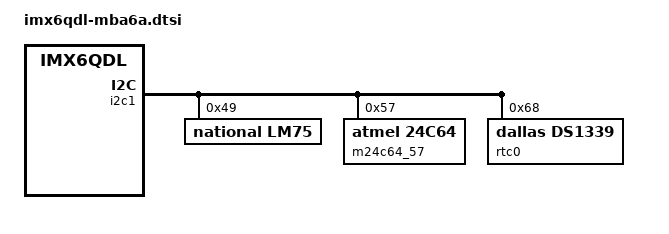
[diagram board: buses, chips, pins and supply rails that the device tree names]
// SPDX-License-Identifier: GPL-2.0-only
/*
 * Copyright 2013 Sascha Hauer, Pengutronix
 *
 * Copyright 2013-2021 TQ-Systems GmbH
 * Author: Markus Niebel <Markus.Niebel@tq-group.com>
 */

&fec {
	pinctrl-names = "default";
	pinctrl-0 = <&pinctrl_enet>, <&pinctrl_enet_fix>;
};

&i2c1 {
	lm75: temperature-sensor@49 {
		compatible = "national,lm75";
		reg = <0x49>;
	};

	m24c64_57: eeprom@57 {
		compatible = "atmel,24c64";
		reg = <0x57>;
		pagesize = <32>;
	};

	rtc0: rtc@68 {
		compatible = "dallas,ds1339";
		reg = <0x68>;
	};
};
